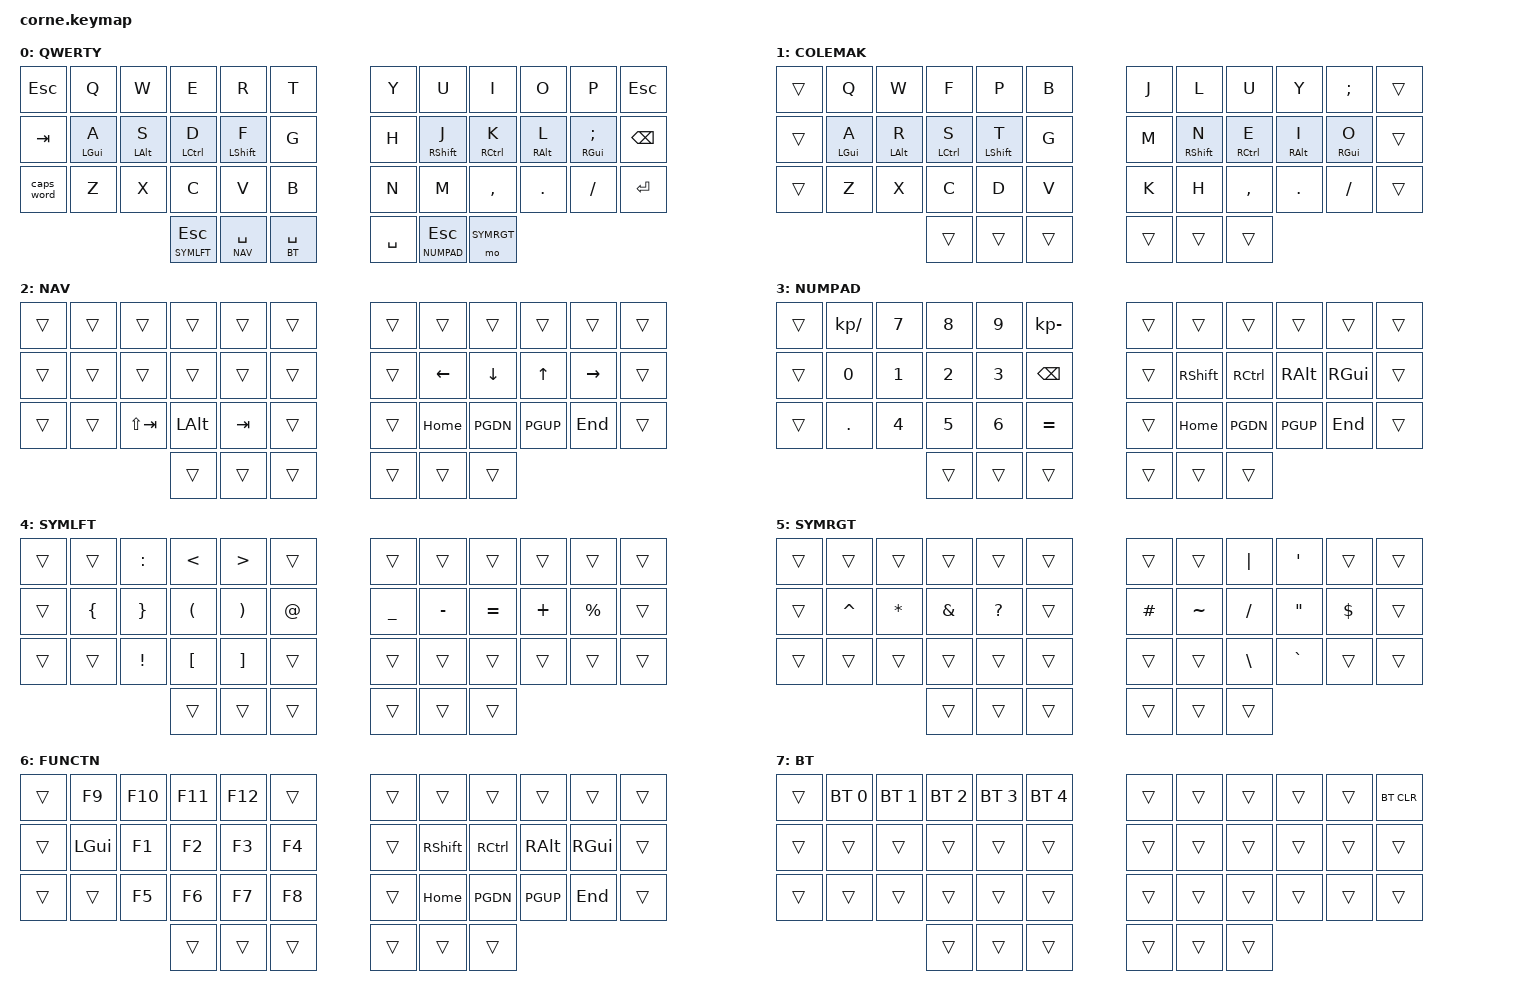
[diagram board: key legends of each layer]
/*
 * Copyright (c) 2020 The ZMK Contributors
 *
 * SPDX-License-Identifier: MIT
 */

#include <behaviors.dtsi>
#include <dt-bindings/zmk/keys.h>
#include <dt-bindings/zmk/bt.h>

/ {
  // Layer Definitions (replaced enum with #define for devicetree compatibility)
  #define QWERTY 0
  #define COLEMAK 1
  #define NAV 2
  #define NUMPAD 3
  #define SYMLFT 4
  #define SYMRGT 5
  #define FUNCTN 6
  #define BT 7

  behaviors {
    hm: homerow_mods {
      compatible = "zmk,behavior-hold-tap";
      #binding-cells = <2>;
      tapping-term-ms = <250>;
      quick-tap-ms = <125>;
      require-prior-idle-ms = <150>;
      flavor = "tap-preferred";
      bindings = <&kp>, <&kp>;
    };
  };

  // Bluetooth Profile Shortcuts
  #define BTP1 &bt BT_SEL 0
  #define BTP2 &bt BT_SEL 1
  #define BTP3 &bt BT_SEL 2
  #define BTP4 &bt BT_SEL 3
  #define BTP5 &bt BT_SEL 4
  #define BTCLR &bt BT_CLR

  // Homerow Mods Shortcuts
  #define HMA &hm LGUI A
  #define HMS &hm LALT S
  #define HMD &hm LCTRL D
  #define HMF &hm LSHFT F
  #define HMJ &hm RSHFT J
  #define HMK &hm RCTRL K
  #define HML &hm RALT L
  #define HMSC &hm RGUI SEMI

  // Colemak Homerow Mods
  #define COLA &hm LGUI A
  #define COLR &hm LALT R
  #define COLS &hm LCTRL S
  #define COLT &hm LSHFT T
  #define COLHN &hm RSHFT N  // Renamed from COLN to avoid conflict with deprecated ZMK macro
  #define COLE &hm RCTRL E
  #define COLI &hm RALT I
  #define COLO &hm RGUI O

  // Layer Tap Shortcuts
  #define LTBT &lt BT SPACE
  #define LTNUM &lt NUMPAD ESC
  #define LTNAV &lt NAV SPACE
  #define LTSYML &lt SYMLFT ESC

  // Mod Shortcuts (renamed to avoid conflicts with ZMK deprecated/reserved macros)
  #define LSHT &kp LSHFT
  #define RSHFT_KP &kp RSHFT  // Renamed from RSFT
  #define RCTRL_KP &kp RCTRL  // Renamed from RCTL
  #define RALT_KP &kp RALT    // Renamed from RALT
  #define RGUI_KP &kp RGUI    // Renamed from RGUI

  keymap {
    compatible = "zmk,keymap";

    qwerty_layer {
      display-name = "QWERTY";
      // ┌────────────┬────────────┬────────────┬────────────┬────────────┬────────────┐     ┌────────────┬────────────┬────────────┬────────────┬────────────┬────────────┐
      // │    ESC     │     Q      │     W      │     E      │     R      │     T      │     │     Y      │     U      │     I      │     O      │     P      │    ESC     │
      // ├────────────┼────────────┼────────────┼────────────┼────────────┼────────────┤     ├────────────┼────────────┼────────────┼────────────┼────────────┼────────────┤
      // │    TAB     │  A(GUI)    │  S(ALT)    │  D(CTRL)   │  F(SHFT)   │     G      │     │     H      │  J(SHFT)   │  K(CTRL)   │  L(ALT)    │  ;(GUI)    │   BSPC     │
      // ├────────────┼────────────┼────────────┼────────────┼────────────┼────────────┤     ├────────────┼────────────┼────────────┼────────────┼────────────┼────────────┤
      // │  CAPSWORD  │     Z      │     X      │     C      │     V      │     B      │     │     N      │     M      │     ,      │     .      │     /      │    RET     │
      // ├────────────┼────────────┼────────────┴────────────┼────────────┼────────────┤     ├────────────┼────────────┴────────────┼────────────┼────────────┼────────────┤
      // │            │            │            │ SYMLFT/ESC │ NAV/SPC    │  SPC/BT    │     │    SPC     │ ESC/NUM    │  SYMRGT    │            │            │            │
      // └────────────┴────────────┴────────────┴────────────┴────────────┴────────────┘     └────────────┴────────────┴────────────┴────────────┴────────────┴────────────┘
      bindings = <
        &kp ESC      &kp Q        &kp W        &kp E        &kp R        &kp T              &kp Y        &kp U        &kp I        &kp O        &kp P        &kp ESC
        &kp TAB      HMA          HMS          HMD          HMF          &kp G              &kp H        HMJ          HMK          HML          HMSC         &kp BSPC
        &caps_word   &kp Z        &kp X        &kp C        &kp V        &kp B              &kp N        &kp M        &kp COMMA    &kp DOT      &kp FSLH     &kp RET
                                               LTSYML       LTNAV        LTBT               &kp SPACE    LTNUM        &mo SYMRGT
      >;
    };

    colemak_layer {
      display-name = "COLEMAK";
      // ┌────────────┬────────────┬────────────┬────────────┬────────────┬────────────┐     ┌────────────┬────────────┬────────────┬────────────┬────────────┬────────────┐
      // │    ---     │     Q      │     W      │     F      │     P      │     B      │     │     J      │     L      │     U      │     Y      │     ;      │    ---     │
      // ├────────────┼────────────┼────────────┼────────────┼────────────┼────────────┤     ├────────────┼────────────┼────────────┼────────────┼────────────┼────────────┤
      // │    ---     │  A(GUI)    │  R(ALT)    │  S(CTRL)   │  T(SHFT)   │     G      │     │     M      │  N(SHFT)   │  E(CTRL)   │  I(ALT)    │  O(GUI)    │    ---     │
      // ├────────────┼────────────┼────────────┼────────────┼────────────┼────────────┤     ├────────────┼────────────┼────────────┼────────────┼────────────┼────────────┤
      // │    ---     │     Z      │     X      │     C      │     D      │     V      │     │     K      │     H      │     ,      │     .      │     /      │    ---     │
      // ├────────────┼────────────┼────────────┴────────────┼────────────┼────────────┤     ├────────────┼────────────┴────────────┼────────────┼────────────┼────────────┤
      // │            │            │            │    ---     │    ---     │    ---     │     │    ---     │    ---     │    ---     │            │            │            │
      // └────────────┴────────────┴────────────┴────────────┴────────────┴────────────┘     └────────────┴────────────┴────────────┴────────────┴────────────┴────────────┘
      bindings = <
        &trans       &kp Q        &kp W        &kp F        &kp P        &kp B              &kp J        &kp L        &kp U        &kp Y        &kp SEMI     &trans
        &trans       COLA         COLR         COLS         COLT         &kp G              &kp M        COLHN        COLE         COLI         COLO         &trans
        &trans       &kp Z        &kp X        &kp C        &kp D        &kp V              &kp K        &kp H        &kp COMMA    &kp DOT      &kp FSLH     &trans
                                               &trans       &trans       &trans             &trans       &trans       &trans
      >;
    };

    navigate_layer {
      display-name = "NAV";
      // ┌────────────┬────────────┬────────────┬────────────┬────────────┬────────────┐     ┌────────────┬────────────┬────────────┬────────────┬────────────┬────────────┐
      // │    ---     │    ---     │    ---     │    ---     │    ---     │    ---     │     │    ---     │    ---     │    ---     │    ---     │    ---     │    ---     │
      // ├────────────┼────────────┼────────────┼────────────┼────────────┼────────────┤     ├────────────┼────────────┼────────────┼────────────┼────────────┼────────────┤
      // │    ---     │    ---     │    ---     │    ---     │    ---     │    ---     │     │    ---     │    LEFT    │    DOWN    │     UP     │    RIGHT   │    ---     │
      // ├────────────┼────────────┼────────────┼────────────┼────────────┼────────────┤     ├────────────┼────────────┼────────────┼────────────┼────────────┼────────────┤
      // │    ---     │    ---     │   S+TAB    │    ALT     │    TAB     │    ---     │     │    ---     │    HOME    │    PGDN    │    PGUP    │    END     │    ---     │
      // ├────────────┼────────────┼────────────┴────────────┼────────────┼────────────┤     ├────────────┼────────────┴────────────┼────────────┼────────────┼────────────┤
      // │            │            │            │    ---     │    ---     │    ---     │     │    ---     │    ---     │    ---     │            │            │            │
      // └────────────┴────────────┴────────────┴────────────┴────────────┴────────────┘     └────────────┴────────────┴────────────┴────────────┴────────────┴────────────┘
      bindings = <
        &trans       &trans       &trans       &trans       &trans       &trans             &trans       &trans       &trans       &trans       &trans       &trans
        &trans       &trans       &trans       &trans       &trans       &trans             &trans       &kp LEFT     &kp DOWN     &kp UP       &kp RIGHT    &trans
        &trans       &trans       &kp LS(TAB)  &kp LALT     &kp TAB      &trans             &trans       &kp HOME     &kp PGDN     &kp PGUP     &kp END      &trans
                                               &trans       &trans       &trans             &trans       &trans       &trans
      >;
    };

    numpad_layer {
      display-name = "NUMPAD";
      // ┌────────────┬────────────┬────────────┬────────────┬────────────┬────────────┐     ┌────────────┬────────────┬────────────┬────────────┬────────────┬────────────┐
      // │    ---     │  KP_SLASH  │     7      │     8      │     9      │  KP_MINUS  │     │    ---     │    ---     │    ---     │    ---     │    ---     │    ---     │
      // ├────────────┼────────────┼────────────┼────────────┼────────────┼────────────┤     ├────────────┼────────────┼────────────┼────────────┼────────────┼────────────┤
      // │    ---     │     0      │     1      │     2      │     3      │   BSPC     │     │    ---     │   RSHFT    │   RCTRL    │    RALT    │    RGUI    │    ---     │
      // ├────────────┼────────────┼────────────┼────────────┼────────────┼────────────┤     ├────────────┼────────────┼────────────┼────────────┼────────────┼────────────┤
      // │    ---     │     .      │     4      │     5      │     6      │    EQL     │     │    ---     │    HOME    │    PGDN    │    PGUP    │    END     │    ---     │
      // ├────────────┼────────────┼────────────┴────────────┼────────────┼────────────┤     ├────────────┼────────────┴────────────┼────────────┼────────────┼────────────┤
      // │            │            │            │    ---     │    ---     │    ---     │     │    ---     │    ---     │    ---     │            │            │            │
      // └────────────┴────────────┴────────────┴────────────┴────────────┴────────────┘     └────────────┴────────────┴────────────┴────────────┴────────────┴────────────┘
      bindings = <
        &trans       &kp KP_SLASH &kp N7       &kp N8       &kp N9       &kp KP_MINUS       &trans       &trans       &trans       &trans       &trans       &trans
        &trans       &kp N0       &kp N1       &kp N2       &kp N3       &kp BSPC           &trans       RSHFT_KP     RCTRL_KP     RALT_KP      RGUI_KP      &trans
        &trans       &kp DOT      &kp N4       &kp N5       &kp N6       &kp EQUAL          &trans       &kp HOME     &kp PGDN     &kp PGUP     &kp END      &trans
                                               &trans       &trans       &trans             &trans       &trans       &trans
      >;
    };

    symbol_left_layer {
      display-name = "SYMLFT";
      // ┌────────────┬────────────┬────────────┬────────────┬────────────┬────────────┐     ┌────────────┬────────────┬────────────┬────────────┬────────────┬────────────┐
      // │    ---     │    ---     │     :      │     <      │     >      │    ---     │     │    ---     │    ---     │    ---     │    ---     │    ---     │    ---     │
      // ├────────────┼────────────┼────────────┼────────────┼────────────┼────────────┤     ├────────────┼────────────┼────────────┼────────────┼────────────┼────────────┤
      // │    ---     │     {      │     }      │     (      │     )      │     @      │     │     _      │     -      │     =      │     +      │     %      │    ---     │
      // ├────────────┼────────────┼────────────┼────────────┼────────────┼────────────┤     ├────────────┼────────────┼────────────┼────────────┼────────────┼────────────┤
      // │    ---     │    ---     │     !      │     [      │     ]      │    ---     │     │    ---     │    ---     │    ---     │    ---     │    ---     │    ---     │
      // ├────────────┼────────────┼────────────┴────────────┼────────────┼────────────┤     ├────────────┼────────────┴────────────┼────────────┼────────────┼────────────┤
      // │            │            │            │    ---     │    ---     │    ---     │     │    ---     │    ---     │    ---     │            │            │            │
      // └────────────┴────────────┴────────────┴────────────┴────────────┴────────────┘     └────────────┴────────────┴────────────┴────────────┴────────────┴────────────┘
      bindings = <
        &trans       &trans       &kp COLON    &kp LT       &kp GT       &trans             &trans       &trans       &trans       &trans       &trans       &trans
        &trans       &kp LBRC     &kp RBRC     &kp LPAR     &kp RPAR     &kp AT             &kp UNDER    &kp MINUS    &kp EQUAL    &kp PLUS     &kp PERCENT  &trans
        &trans       &trans       &kp EXCL     &kp LBKT     &kp RBKT     &trans             &trans       &trans       &trans       &trans       &trans       &trans
                                               &trans       &trans       &trans             &trans       &trans       &trans
      >;
    };

    symbol_right_layer {
      display-name = "SYMRGT";
      // ┌────────────┬────────────┬────────────┬────────────┬────────────┬────────────┐     ┌────────────┬────────────┬────────────┬────────────┬────────────┬────────────┐
      // │    ---     │    ---     │    ---     │    ---     │    ---     │    ---     │     │    ---     │    ---     │     |      │     '      │    ---     │    ---     │
      // ├────────────┼────────────┼────────────┼────────────┼────────────┼────────────┤     ├────────────┼────────────┼────────────┼────────────┼────────────┼────────────┤
      // │    ---     │     ^      │     *      │     &      │     ?      │    ---     │     │     #      │     ~      │     /      │     "      │     $      │    ---     │
      // ├────────────┼────────────┼────────────┼────────────┼────────────┼────────────┤     ├────────────┼────────────┼────────────┼────────────┼────────────┼────────────┤
      // │    ---     │    ---     │    ---     │    ---     │    ---     │    ---     │     │    ---     │    ---     │     \      │     `      │    ---     │    ---     │
      // ├────────────┼────────────┼────────────┴────────────┼────────────┼────────────┤     ├────────────┼────────────┴────────────┼────────────┼────────────┼────────────┤
      // │            │            │            │    ---     │    ---     │    ---     │     │    ---     │    ---     │    ---     │            │            │            │
      // └────────────┴────────────┴────────────┴────────────┴────────────┴────────────┘     └────────────┴────────────┴────────────┴────────────┴────────────┴────────────┘
      bindings = <
        &trans       &trans       &trans       &trans       &trans       &trans             &trans       &trans       &kp PIPE     &kp SQT      &trans       &trans
        &trans       &kp CARET    &kp ASTRK    &kp AMPS     &kp QMARK    &trans             &kp HASH     &kp TILDE    &kp FSLH     &kp DQT      &kp DLLR     &trans
        &trans       &trans       &trans       &trans       &trans       &trans             &trans       &trans       &kp BSLH     &kp GRAVE    &trans       &trans
                                               &trans       &trans       &trans             &trans       &trans       &trans
      >;
    };

    function_layer {
      display-name = "FUNCTN";
      // ┌────────────┬────────────┬────────────┬────────────┬────────────┬────────────┐     ┌────────────┬────────────┬────────────┬────────────┬────────────┬────────────┐
      // │    ---     │     F9     │    F10     │    F11     │    F12     │    ---     │     │    ---     │    ---     │    ---     │    ---     │    ---     │    ---     │
      // ├────────────┼────────────┼────────────┼────────────┼────────────┼────────────┤     ├────────────┼────────────┼────────────┼────────────┼────────────┼────────────┤
      // │    ---     │    GUI     │     F1     │     F2     │     F3     │     F4     │     │    ---     │   RSHFT    │   RCTRL    │    RALT    │    RGUI    │    ---     │
      // ├────────────┼────────────┼────────────┼────────────┼────────────┼────────────┤     ├────────────┼────────────┼────────────┼────────────┼────────────┼────────────┤
      // │    ---     │    ---     │     F5     │     F6     │     F7     │     F8     │     │    ---     │    HOME    │    PGDN    │    PGUP    │    END     │    ---     │
      // ├────────────┼────────────┼────────────┴────────────┼────────────┼────────────┤     ├────────────┼────────────┴────────────┼────────────┼────────────┼────────────┤
      // │            │            │            │    ---     │    ---     │    ---     │     │    ---     │    ---     │    ---     │            │            │            │
      // └────────────┴────────────┴────────────┴────────────┴────────────┴────────────┘     └────────────┴────────────┴────────────┴────────────┴────────────┴────────────┘
      bindings = <
        &trans       &kp F9       &kp F10      &kp F11      &kp F12      &trans             &trans       &trans       &trans       &trans       &trans       &trans
        &trans       &kp LGUI     &kp F1       &kp F2       &kp F3       &kp F4             &trans       RSHFT_KP     RCTRL_KP     RALT_KP      RGUI_KP      &trans
        &trans       &trans       &kp F5       &kp F6       &kp F7       &kp F8             &trans       &kp HOME     &kp PGDN     &kp PGUP     &kp END      &trans
                                               &trans       &trans       &trans             &trans       &trans       &trans
      >;
    };

    bluetooth_layer {
      display-name = "BT";
      // ┌────────────┬────────────┬────────────┬────────────┬────────────┬────────────┐     ┌────────────┬────────────┬────────────┬────────────┬────────────┬────────────┐
      // │    ---     │    BTP1    │    BTP2    │    BTP3    │    BTP4    │    BTP5    │     │    ---     │    ---     │    ---     │    ---     │    ---     │    BTCLR   │
      // ├────────────┼────────────┼────────────┼────────────┼────────────┼────────────┤     ├────────────┼────────────┼────────────┼────────────┼────────────┼────────────┤
      // │    ---     │    ---     │    ---     │    ---     │    ---     │    ---     │     │    ---     │    ---     │    ---     │    ---     │    ---     │    ---     │
      // ├────────────┼────────────┼────────────┼────────────┼────────────┼────────────┤     ├────────────┼────────────┼────────────┼────────────┼────────────┼────────────┤
      // │    ---     │    ---     │    ---     │    ---     │    ---     │    ---     │     │    ---     │    ---     │    ---     │    ---     │    ---     │    ---     │
      // ├────────────┼────────────┼────────────┴────────────┼────────────┼────────────┤     ├────────────┼────────────┴────────────┼────────────┼────────────┼────────────┤
      // │            │            │            │    ---     │    ---     │    ---     │     │    ---     │    ---     │    ---     │            │            │            │
      // └────────────┴────────────┴────────────┴────────────┴────────────┴────────────┘     └────────────┴────────────┴────────────┴────────────┴────────────┴────────────┘
      bindings = <
        &trans       BTP1         BTP2         BTP3         BTP4         BTP5               &trans       &trans       &trans       &trans       &trans       BTCLR
        &trans       &trans       &trans       &trans       &trans       &trans             &trans       &trans       &trans       &trans       &trans       &trans
        &trans       &trans       &trans       &trans       &trans       &trans             &trans       &trans       &trans       &trans       &trans       &trans
                                               &trans       &trans       &trans             &trans       &trans       &trans
      >;
    };
  };
};
